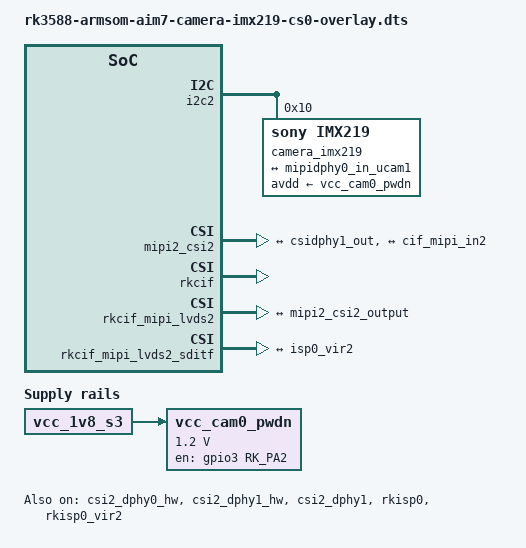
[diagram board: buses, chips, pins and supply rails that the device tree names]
/dts-v1/;
/plugin/;

#include <dt-bindings/clock/rk3588-cru.h>
#include <dt-bindings/power/rk3588-power.h>
#include <dt-bindings/gpio/gpio.h>
#include <dt-bindings/pinctrl/rockchip.h>

/*
 * AIM7 CS0 (J13), IMX219 on i2c2.
 * csi2_dphy1 -> mipi2_csi2 -> rkcif_mipi_lvds2 -> rkisp0_vir2.
 * Load independently or together with the other AIM7 per-connector overlays.
 */

/ {
	fragment@0 {
		target-path = "/";
		__overlay__ {
			/* Module enable: use the same regulator method as AIM5. */
			vcc_cam0_pwdn: vcc-cam0-pwdn {
				compatible = "regulator-fixed";
				regulator-name = "vcc_cam0_pwdn";
				regulator-min-microvolt = <1200000>;
				regulator-max-microvolt = <1200000>;
				regulator-boot-on;
				regulator-always-on;
				enable-active-high;
				vin-supply = <&vcc_1v8_s3>;
				gpio = <&gpio3 RK_PA2 GPIO_ACTIVE_HIGH>;
			};
		};
	};

	fragment@1 {
		target = <&i2c2>;
		__overlay__ {
			status = "okay";
			pinctrl-names = "default";
			pinctrl-0 = <&i2c2m0_xfer>;
			#address-cells = <1>;
			#size-cells = <0>;
			camera_imx219: camera-imx219@10 {
				status = "okay";
				compatible = "sony,imx219";
				reg = <0x10>;
				clocks = <&cru CLK_MIPI_CAMARAOUT_M0>;
				clock-names = "xvclk";
				pinctrl-names = "rockchip,camera_default";
				pinctrl-0 = <&mipim1_camera0_clk>;//gpio3_a5

				power-domains = <&power RK3588_PD_VI>;
				avdd-supply = <&vcc_cam0_pwdn>;

				rockchip,camera-module-index = <0>;
				rockchip,camera-module-facing = "back";
				rockchip,camera-module-name = "RADXA-CAMERA-8M";
				rockchip,camera-module-lens-name = "default";

				port {
					imx219_out0: endpoint {
						remote-endpoint = <&mipidphy0_in_ucam1>;
						data-lanes = <1 2>;
						clock-noncontinuous;
						link-frequencies = /bits/ 64 <456000000>;
					};
				};
			};
		};
	};

	fragment@2 {
		target = <&csi2_dphy0_hw>;

		__overlay__ {
			status = "okay";
		};
	};

	fragment@3 {
		target = <&csi2_dphy1_hw>;

		__overlay__ {
			status = "okay";
		};
	};

	fragment@4 {
		target = <&csi2_dphy1>;

		__overlay__ {
			status = "okay";
			ports {
				#address-cells = <1>;
				#size-cells = <0>;

				port@0 {
					reg = <0>;
					#address-cells = <1>;
					#size-cells = <0>;

					mipidphy0_in_ucam1: endpoint@1 {
						reg = <1>;
						remote-endpoint = <&imx219_out0>;
						data-lanes = <1 2>;
					};
				};

				port@1 {
					reg = <1>;
					#address-cells = <1>;
					#size-cells = <0>;

					csidphy1_out: endpoint@0 {
						reg = <0>;
						remote-endpoint = <&mipi2_csi2_input>;
					};
				};
			};
		};
	};

	fragment@5 {
		target = <&mipi2_csi2>;

		__overlay__ {
			status = "okay";
			ports {
				#address-cells = <1>;
				#size-cells = <0>;

				port@0 {
					reg = <0>;
					#address-cells = <1>;
					#size-cells = <0>;

					mipi2_csi2_input: endpoint@1 {
						reg = <1>;
						remote-endpoint = <&csidphy1_out>;
					};
				};

				port@1 {
					reg = <1>;
					#address-cells = <1>;
					#size-cells = <0>;

					mipi2_csi2_output: endpoint@0 {
						reg = <0>;
						remote-endpoint = <&cif_mipi_in2>;
					};
				};
			};
		};
	};

	fragment@6 {
		target = <&rkcif>;

		__overlay__ {
			status = "okay";
		};
	};

	fragment@7 {
		target = <&rkcif_mipi_lvds2>;

		__overlay__ {
			status = "okay";
			port {
				cif_mipi_in2: endpoint {
					remote-endpoint = <&mipi2_csi2_output>;
				};
			};
		};
	};

	fragment@8 {
		target = <&rkcif_mipi_lvds2_sditf>;

		__overlay__ {
			status = "okay";
			port {
				mipi2_lvds_sditf: endpoint {
					remote-endpoint = <&isp0_vir2>;
				};
			};
		};
	};

	fragment@9{
		target = <&rkcif_mmu>;

		__overlay__ {
			status = "okay";
		};
	};

	fragment@10{
		target = <&rkisp0>;

		__overlay__ {
			status = "okay";
		};
	};

	fragment@11{
		target = <&isp0_mmu>;

		__overlay__ {
			status = "okay";
		};
	};

	fragment@12{
		target = <&rkisp0_vir2>;

		__overlay__ {
			status = "okay";
			port {
				#address-cells = <1>;
				#size-cells = <0>;

				isp0_vir2: endpoint@0 {
					reg = <0>;
					remote-endpoint = <&mipi2_lvds_sditf>;
				};
			};
		};
	};
};
